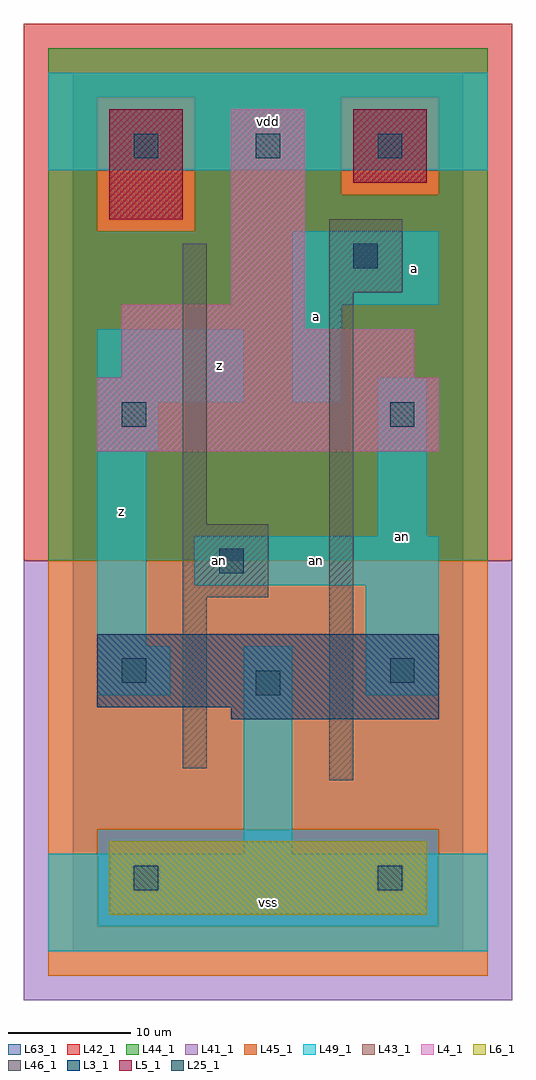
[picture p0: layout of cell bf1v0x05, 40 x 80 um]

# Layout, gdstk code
import gdstk
lib = gdstk.Library(unit=1e-6, precision=1e-09)
def R(c, l, rs):  # rectangles x0, y0, x1, y1
    for r in rs: c.add(gdstk.rectangle(r[:2], r[2:], *l))
def A(c, l, x, y, w, h, nx, ny, dx, dy):  # array of equal rectangles
    R(c, l, [(x+i*dx, y+j*dy, x+i*dx+w, y+j*dy+h) for i in range(nx) for j in range(ny)])
L3_1 = (3, 1)
L4_1 = (4, 1)
L5_1 = (5, 1)
L6_1 = (6, 1)
L25_1 = (25, 1)
L41_1 = (41, 1)
L42_1 = (42, 1)
L43_1 = (43, 1)
L44_1 = (44, 1)
L45_1 = (45, 1)
L46_1 = (46, 1)
L49_1 = (49, 1)
L63_1 = (63, 1)

bf1v0x05 = lib.new_cell('bf1v0x05')
R(bf1v0x05, L3_1, [(13,19,30,20), (2,20,30,26)])
R(bf1v0x05, L4_1, [(2,41,30,47), (4,47,28,51), (4,51,19,53), (13,53,19,69)])
R(bf1v0x05, L5_1, [(3,60,9,69), (23,63,29,69)])
R(bf1v0x05, L6_1, [(3,3,29,9), (3,3,29,9)])
A(bf1v0x05, L25_1, 5, 65, 2, 2, 3, 1, 10, 0)
R(bf1v0x05, L25_1, [(5,5,7,7), (25,5,27,7), (15,21,17,23), (4,22,6,24), (26,22,28,24), (12,31,14,33), (4,43,6,45), (26,43,28,45), (23,56,25,58)])
R(bf1v0x05, L41_1, [(-4,-4,36,32)])
R(bf1v0x05, L42_1, [(-4,32,36,76)])
R(bf1v0x05, L43_1, [(3,3,29,9), (13,19,30,20), (2,20,30,26), (2,41,30,47), (4,47,28,51), (4,51,19,53), (13,53,19,69), (3,60,9,69), (23,63,29,69)])
R(bf1v0x05, L44_1, [(2,2,30,10), (-2,32,34,59), (-2,59,2,70), (10,59,34,62), (10,62,22,70), (30,62,34,70), (-2,70,34,74)])
R(bf1v0x05, L45_1, [(-2,-2,34,2), (-2,2,2,10), (30,2,34,10), (-2,10,34,32), (2,59,10,70), (22,62,30,70)])
R(bf1v0x05, L46_1, [(21,14,23,54), (9,15,11,29), (9,29,16,35), (9,35,11,58), (21,54,27,60)])
R(bf1v0x05, L49_1, [(-2,0,34,8), (14,8,18,25), (2,21,8,25), (24,21,30,30), (2,25,6,41), (10,30,30,34), (25,34,29,47), (2,41,7,45), (2,45,14,51), (18,45,22,53), (18,53,30,59), (-2,64,34,72)])
R(bf1v0x05, L63_1, [(0,0,32,72)])
bf1v0x05.add(gdstk.Label('an', (12,32), layer=49, texttype=1))
bf1v0x05.add(gdstk.Label('z', (4,36), layer=49, texttype=1))
bf1v0x05.add(gdstk.Label('z', (12,48), layer=49, texttype=1))
bf1v0x05.add(gdstk.Label('vss', (16,4), layer=49, texttype=1))
bf1v0x05.add(gdstk.Label('a', (20,52), layer=49, texttype=1))
bf1v0x05.add(gdstk.Label('vdd', (16,68), layer=49, texttype=1))
bf1v0x05.add(gdstk.Label('an', (20,32), layer=49, texttype=1))
bf1v0x05.add(gdstk.Label('an', (27,34), layer=49, texttype=1))
bf1v0x05.add(gdstk.Label('a', (28,56), layer=49, texttype=1))

lib.write_gds('bf1v0x05.gds')
